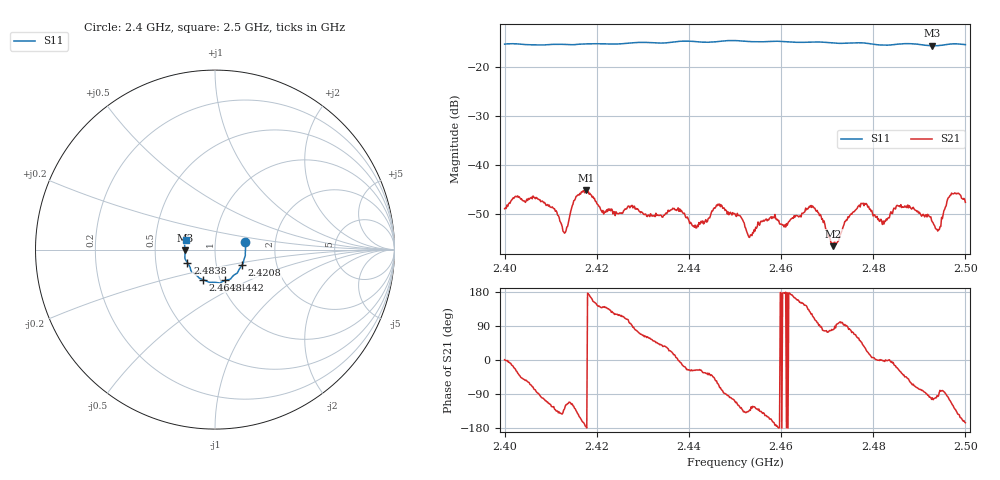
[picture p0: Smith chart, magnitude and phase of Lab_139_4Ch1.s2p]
# Hz S RI R 50
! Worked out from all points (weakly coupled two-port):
!   601 points, 2.4 GHz to 2.5 GHz, reference 50 ohm
!   highest |S21| = -45.15 dB at 2.4177 GHz (marker M1); lowest = -56.6 dB at 2.4713 GHz (marker M2)
!   lowest |S11| = -15.6 dB at 2.4928 GHz (marker M3), VSWR 1.40, Z = 35.8 - j0.355 ohm
!   |S11| at or under -10 dB: start of sweep to end of sweep
!   S12 and S22 are empty: the file has one direction only
!   S11 on the Smith chart (normalised r, x): 2.4 GHz: 1.40, +0.12; 2.4208 GHz: 1.33, -0.24; 2.4442 GHz: 1.05, -0.37; 2.4648 GHz: 0.83, -0.29; 2.4838 GHz: 0.73, -0.11; 2.5 GHz: 0.72, +0.08
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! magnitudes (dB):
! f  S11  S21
! 2.4 GHz  -15.3  -49.0
! 2.4067 GHz  -15.4  -46.9
! 2.4132 GHz  -15.3  -53.8
! 2.4167 GHz  -15.2  -45.5
! 2.4177 GHz  -15.2  -45.2
! 2.4208 GHz  -15.2  -49.1
! 2.4333 GHz  -15.0  -50.3
! 2.4442 GHz  -14.9  -51.0
! 2.4465 GHz  -14.7  -48.2
! 2.45 GHz  -14.5  -50.0
! 2.4532 GHz  -14.7  -54.8
! 2.4648 GHz  -14.9  -49.8
! 2.4667 GHz  -14.8  -48.7
! 2.4713 GHz  -15.0  -56.6
! 2.4773 GHz  -15.0  -47.9
! 2.4833 GHz  -15.5  -50.8
! 2.4838 GHz  -15.4  -49.6
! 2.4873 GHz  -15.1  -48.7
! 2.4928 GHz  -15.6  -51.7
! 2.4942 GHz  -15.6  -53.3
! 2.4972 GHz  -15.2  -45.9
! 2.5 GHz  -15.4  -47.7
